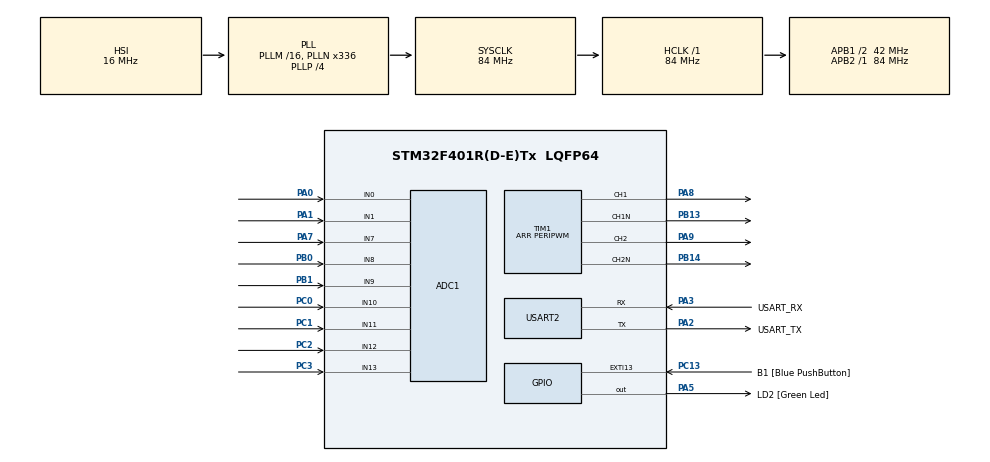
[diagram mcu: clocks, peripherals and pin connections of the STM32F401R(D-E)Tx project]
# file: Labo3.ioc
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ADC1.Channel-0\#ChannelRegularConversion=ADC_CHANNEL_9
ADC1.ContinuousConvMode=DISABLE
ADC1.DMAContinuousRequests=ENABLE
ADC1.EOCSelection=ADC_EOC_SEQ_CONV
ADC1.ExternalTrigConv=ADC_EXTERNALTRIGCONV_T1_CC3
ADC1.ExternalTrigConvEdge=ADC_EXTERNALTRIGCONVEDGE_RISINGFALLING
ADC1.NbrOfConversionFlag=1
ADC1.Rank-0\#ChannelRegularConversion=1
ADC1.SamplingTime-0\#ChannelRegularConversion=ADC_SAMPLETIME_3CYCLES
ADC1.ScanConvMode=ENABLE
ADC1.master=1
Dma.ADC1.0.Direction=DMA_PERIPH_TO_MEMORY
Dma.ADC1.0.FIFOMode=DMA_FIFOMODE_DISABLE
Dma.ADC1.0.Instance=DMA2_Stream0
Dma.ADC1.0.MemDataAlignment=DMA_MDATAALIGN_HALFWORD
Dma.ADC1.0.MemInc=DMA_MINC_ENABLE
Dma.ADC1.0.Mode=DMA_CIRCULAR
Dma.ADC1.0.PeriphDataAlignment=DMA_PDATAALIGN_HALFWORD
Dma.ADC1.0.PeriphInc=DMA_PINC_DISABLE
Dma.ADC1.0.Priority=DMA_PRIORITY_LOW
Dma.Request0=ADC1
Mcu.Family=STM32F4
Mcu.Name=STM32F401R(D-E)Tx
Mcu.Package=LQFP64
Mcu.UserConstants=PERIPWM,2100
NVIC.DMA2_Stream0_IRQn=true\:0\:0\:false\:false\:true\:false\:true\:true
NVIC.PriorityGroup=NVIC_PRIORITYGROUP_0
PA0-WKUP.Signal=ADCx_IN0
PA1.Signal=ADCx_IN1
PA13.GPIO_Label=TMS
PA13.Mode=Serial_Wire
PA13.Signal=SYS_JTMS-SWDIO
PA14.GPIO_Label=TCK
PA14.Mode=Serial_Wire
PA14.Signal=SYS_JTCK-SWCLK
PA2.GPIO_Label=USART_TX
PA2.GPIO_Mode=GPIO_MODE_AF_PP
PA2.GPIO_PuPd=GPIO_NOPULL
PA2.GPIO_Speed=GPIO_SPEED_FREQ_LOW
PA2.Mode=Asynchronous
PA2.Signal=USART2_TX
PA3.GPIO_Label=USART_RX
PA3.GPIO_Mode=GPIO_MODE_AF_PP
PA3.GPIO_PuPd=GPIO_NOPULL
PA3.GPIO_Speed=GPIO_SPEED_FREQ_LOW
PA3.Mode=Asynchronous
PA3.Signal=USART2_RX
PA5.GPIO_Label=LD2 [Green Led]
PA5.GPIO_Mode=GPIO_MODE_OUTPUT_PP
PA5.GPIO_PuPd=GPIO_NOPULL
PA5.GPIO_Speed=GPIO_SPEED_FREQ_LOW
PA5.Signal=GPIO_Output
PA7.Signal=ADCx_IN7
PA8.Signal=S_TIM1_CH1
PA9.Signal=S_TIM1_CH2
PB0.Signal=ADCx_IN8
PB1.Signal=ADCx_IN9
PB13.Mode=PWM Generation1 CH1 CH1N
PB13.Signal=TIM1_CH1N
PB14.Mode=PWM Generation2 CH2 CH2N
PB14.Signal=TIM1_CH2N
PB3.GPIO_Label=SWO
PB3.Signal=SYS_JTDO-SWO
PC0.Signal=ADCx_IN10
PC1.Signal=ADCx_IN11
PC13-ANTI_TAMP.GPIO_Label=B1 [Blue PushButton]
PC13-ANTI_TAMP.GPIO_ModeDefaultEXTI=GPIO_MODE_IT_FALLING
PC13-ANTI_TAMP.GPIO_PuPd=GPIO_NOPULL
PC13-ANTI_TAMP.Signal=GPXTI13
PC14-OSC32_IN.Mode=LSE-External-Oscillator
PC14-OSC32_IN.Signal=RCC_OSC32_IN
PC15-OSC32_OUT.Mode=LSE-External-Oscillator
PC15-OSC32_OUT.Signal=RCC_OSC32_OUT
PC2.Signal=ADCx_IN12
PC3.Signal=ADCx_IN13
PH0\ -\ OSC_IN.Mode=HSE-External-Clock-Source
PH0\ -\ OSC_IN.Signal=RCC_OSC_IN
PH1\ -\ OSC_OUT.Mode=HSE-External-Clock-Source
PH1\ -\ OSC_OUT.Signal=RCC_OSC_OUT
ProjectManager.HeapSize=0x200
ProjectManager.StackSize=0x400
ProjectManager.TargetToolchain=STM32CubeIDE
RCC.48MHZClocksFreq_Value=48000000
RCC.AHBFreq_Value=84000000
RCC.APB1CLKDivider=RCC_HCLK_DIV2
RCC.APB1Freq_Value=42000000
RCC.APB1TimFreq_Value=84000000
RCC.APB2Freq_Value=84000000
RCC.APB2TimFreq_Value=84000000
RCC.CortexFreq_Value=84000000
RCC.HCLKFreq_Value=84000000
RCC.HSE_VALUE=8000000
RCC.HSI_VALUE=16000000
RCC.PLLN=336
RCC.PLLP=RCC_PLLP_DIV4
RCC.PLLQ=7
RCC.SYSCLKFreq_VALUE=84000000
RCC.SYSCLKSource=RCC_SYSCLKSOURCE_PLLCLK
RCC.VCOOutputFreq_Value=336000000
SH.ADCx_IN0.0=ADC1_IN0,IN0
SH.ADCx_IN1.0=ADC1_IN1,IN1
SH.ADCx_IN10.0=ADC1_IN10,IN10
SH.ADCx_IN11.0=ADC1_IN11,IN11
SH.ADCx_IN12.0=ADC1_IN12,IN12
SH.ADCx_IN13.0=ADC1_IN13,IN13
SH.ADCx_IN7.0=ADC1_IN7,IN7
SH.ADCx_IN8.0=ADC1_IN8,IN8
SH.ADCx_IN9.0=ADC1_IN9,IN9
SH.S_TIM1_CH1.0=TIM1_CH1,PWM Generation1 CH1 CH1N
SH.S_TIM1_CH2.0=TIM1_CH2,PWM Generation2 CH2 CH2N
TIM1.AutomaticOutput=TIM_AUTOMATICOUTPUT_ENABLE
TIM1.Channel-Output\ Compare3\ No\ Output=TIM_CHANNEL_3
TIM1.Channel-PWM\ Generation1\ CH1\ CH1N=TIM_CHANNEL_1
TIM1.Channel-PWM\ Generation2\ CH2\ CH2N=TIM_CHANNEL_2
TIM1.CounterMode=TIM_COUNTERMODE_CENTERALIGNED1
TIM1.DeadTime=42
TIM1.OCMode_3=TIM_OCMODE_TOGGLE
TIM1.OCMode_PWM-PWM\ Generation2\ CH2\ CH2N=TIM_OCMODE_PWM1
TIM1.Period=PERIPWM
USART2.VirtualMode=VM_ASYNC
VP_TIM1_VS_ClockSourceINT.Mode=Internal
VP_TIM1_VS_no_output3.Mode=Output Compare3 No Output
board=NUCLEO-F401RE

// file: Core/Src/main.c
/* USER CODE BEGIN Header */
/**
  ******************************************************************************
  * @file           : main.c
  * @brief          : Main program body
  ******************************************************************************
  * @attention
  *
  * Copyright (c) 2023 STMicroelectronics.
  * All rights reserved.
  *
  * This software is licensed under terms that can be found in the LICENSE file
  * in the root directory of this software component.
  * If no LICENSE file comes with this software, it is provided AS-IS.
  *
  ******************************************************************************
  */
/* USER CODE END Header */
#include "main.h"

ADC_HandleTypeDef hadc1;
DMA_HandleTypeDef hdma_adc1;

TIM_HandleTypeDef htim1;

UART_HandleTypeDef huart2;

/* USER CODE BEGIN PV */

uint16_t resultats[1];

/* USER CODE END PV */

void SystemClock_Config(void);
static void MX_GPIO_Init(void);
static void MX_DMA_Init(void);
static void MX_USART2_UART_Init(void);
static void MX_ADC1_Init(void);
static void MX_TIM1_Init(void);

int main(void)
{

  /* MCU Configuration--------------------------------------------------------*/

  /* Reset of all peripherals, Initializes the Flash interface and the Systick. */
  HAL_Init();

  /* Configure the system clock */
  SystemClock_Config();

  /* Initialize all configured peripherals */
  MX_GPIO_Init();
  MX_DMA_Init();
  MX_USART2_UART_Init();
  MX_ADC1_Init();
  MX_TIM1_Init();
  /* USER CODE BEGIN 2 */

  HAL_TIM_OC_Start(&htim1, TIM_CHANNEL_3);
  HAL_TIM_PWM_Start(&htim1, TIM_CHANNEL_1);
  HAL_TIMEx_PWMN_Start(&htim1, TIM_CHANNEL_1);

  HAL_TIM_PWM_Start(&htim1, TIM_CHANNEL_2);
  HAL_TIMEx_PWMN_Start(&htim1, TIM_CHANNEL_2);

  HAL_ADC_Start_DMA(&hadc1, (uint32_t*) resultats, 1);

  /* USER CODE END 2 */

  /* Infinite loop */
  while (1)
  {

  }
}

void SystemClock_Config(void)
{
  RCC_OscInitTypeDef RCC_OscInitStruct = {0};
  RCC_ClkInitTypeDef RCC_ClkInitStruct = {0};

  /** Configure the main internal regulator output voltage
  */
  __HAL_RCC_PWR_CLK_ENABLE();
  __HAL_PWR_VOLTAGESCALING_CONFIG(PWR_REGULATOR_VOLTAGE_SCALE2);

  /** Initializes the RCC Oscillators according to the specified parameters
  * in the RCC_OscInitTypeDef structure.
  */
  RCC_OscInitStruct.OscillatorType = RCC_OSCILLATORTYPE_HSI;
  RCC_OscInitStruct.HSIState = RCC_HSI_ON;
  RCC_OscInitStruct.HSICalibrationValue = RCC_HSICALIBRATION_DEFAULT;
  RCC_OscInitStruct.PLL.PLLState = RCC_PLL_ON;
  RCC_OscInitStruct.PLL.PLLSource = RCC_PLLSOURCE_HSI;
  RCC_OscInitStruct.PLL.PLLM = 16;
  RCC_OscInitStruct.PLL.PLLN = 336;
  RCC_OscInitStruct.PLL.PLLP = RCC_PLLP_DIV4;
  RCC_OscInitStruct.PLL.PLLQ = 7;
  if (HAL_RCC_OscConfig(&RCC_OscInitStruct) != HAL_OK)
  {
    Error_Handler();
  }

  /** Initializes the CPU, AHB and APB buses clocks
  */
  RCC_ClkInitStruct.ClockType = RCC_CLOCKTYPE_HCLK|RCC_CLOCKTYPE_SYSCLK
                              |RCC_CLOCKTYPE_PCLK1|RCC_CLOCKTYPE_PCLK2;
  RCC_ClkInitStruct.SYSCLKSource = RCC_SYSCLKSOURCE_PLLCLK;
  RCC_ClkInitStruct.AHBCLKDivider = RCC_SYSCLK_DIV1;
  RCC_ClkInitStruct.APB1CLKDivider = RCC_HCLK_DIV2;
  RCC_ClkInitStruct.APB2CLKDivider = RCC_HCLK_DIV1;

  if (HAL_RCC_ClockConfig(&RCC_ClkInitStruct, FLASH_LATENCY_2) != HAL_OK)
  {
    Error_Handler();
  }
}

static void MX_ADC1_Init(void)
{

  ADC_ChannelConfTypeDef sConfig = {0};

  /** Configure the global features of the ADC (Clock, Resolution, Data Alignment and number of conversion)
  */
  hadc1.Instance = ADC1;
  hadc1.Init.ClockPrescaler = ADC_CLOCK_SYNC_PCLK_DIV4;
  hadc1.Init.Resolution = ADC_RESOLUTION_12B;
  hadc1.Init.ScanConvMode = ENABLE;
  hadc1.Init.ContinuousConvMode = DISABLE;
  hadc1.Init.DiscontinuousConvMode = DISABLE;
  hadc1.Init.ExternalTrigConvEdge = ADC_EXTERNALTRIGCONVEDGE_RISINGFALLING;
  hadc1.Init.ExternalTrigConv = ADC_EXTERNALTRIGCONV_T1_CC3;
  hadc1.Init.DataAlign = ADC_DATAALIGN_RIGHT;
  hadc1.Init.NbrOfConversion = 1;
  hadc1.Init.DMAContinuousRequests = ENABLE;
  hadc1.Init.EOCSelection = ADC_EOC_SEQ_CONV;
  if (HAL_ADC_Init(&hadc1) != HAL_OK)
  {
    Error_Handler();
  }

  /** Configure for the selected ADC regular channel its corresponding rank in the sequencer and its sample time.
  */
  sConfig.Channel = ADC_CHANNEL_9;
  sConfig.Rank = 1;
  sConfig.SamplingTime = ADC_SAMPLETIME_3CYCLES;
  if (HAL_ADC_ConfigChannel(&hadc1, &sConfig) != HAL_OK)
  {
    Error_Handler();
  }

}

static void MX_TIM1_Init(void)
{

  TIM_ClockConfigTypeDef sClockSourceConfig = {0};
  TIM_MasterConfigTypeDef sMasterConfig = {0};
  TIM_OC_InitTypeDef sConfigOC = {0};
  TIM_BreakDeadTimeConfigTypeDef sBreakDeadTimeConfig = {0};

  htim1.Instance = TIM1;
  htim1.Init.Prescaler = 0;
  htim1.Init.CounterMode = TIM_COUNTERMODE_CENTERALIGNED1;
  htim1.Init.Period = PERIPWM;
  htim1.Init.ClockDivision = TIM_CLOCKDIVISION_DIV1;
  htim1.Init.RepetitionCounter = 0;
  htim1.Init.AutoReloadPreload = TIM_AUTORELOAD_PRELOAD_DISABLE;
  if (HAL_TIM_Base_Init(&htim1) != HAL_OK)
  {
    Error_Handler();
  }
  sClockSourceConfig.ClockSource = TIM_CLOCKSOURCE_INTERNAL;
  if (HAL_TIM_ConfigClockSource(&htim1, &sClockSourceConfig) != HAL_OK)
  {
    Error_Handler();
  }
  if (HAL_TIM_PWM_Init(&htim1) != HAL_OK)
  {
    Error_Handler();
  }
  if (HAL_TIM_OC_Init(&htim1) != HAL_OK)
  {
    Error_Handler();
  }
  sMasterConfig.MasterOutputTrigger = TIM_TRGO_RESET;
  sMasterConfig.MasterSlaveMode = TIM_MASTERSLAVEMODE_DISABLE;
  if (HAL_TIMEx_MasterConfigSynchronization(&htim1, &sMasterConfig) != HAL_OK)
  {
    Error_Handler();
  }
  sConfigOC.OCMode = TIM_OCMODE_PWM1;
  sConfigOC.Pulse = 0;
  sConfigOC.OCPolarity = TIM_OCPOLARITY_HIGH;
  sConfigOC.OCNPolarity = TIM_OCNPOLARITY_HIGH;
  sConfigOC.OCFastMode = TIM_OCFAST_DISABLE;
  sConfigOC.OCIdleState = TIM_OCIDLESTATE_RESET;
  sConfigOC.OCNIdleState = TIM_OCNIDLESTATE_RESET;
  if (HAL_TIM_PWM_ConfigChannel(&htim1, &sConfigOC, TIM_CHANNEL_1) != HAL_OK)
  {
    Error_Handler();
  }
  if (HAL_TIM_PWM_ConfigChannel(&htim1, &sConfigOC, TIM_CHANNEL_2) != HAL_OK)
  {
    Error_Handler();
  }
  sConfigOC.OCMode = TIM_OCMODE_TOGGLE;
  if (HAL_TIM_OC_ConfigChannel(&htim1, &sConfigOC, TIM_CHANNEL_3) != HAL_OK)
  {
    Error_Handler();
  }
  sBreakDeadTimeConfig.OffStateRunMode = TIM_OSSR_DISABLE;
  sBreakDeadTimeConfig.OffStateIDLEMode = TIM_OSSI_DISABLE;
  sBreakDeadTimeConfig.LockLevel = TIM_LOCKLEVEL_OFF;
  sBreakDeadTimeConfig.DeadTime = 42;
  sBreakDeadTimeConfig.BreakState = TIM_BREAK_DISABLE;
  sBreakDeadTimeConfig.BreakPolarity = TIM_BREAKPOLARITY_HIGH;
  sBreakDeadTimeConfig.AutomaticOutput = TIM_AUTOMATICOUTPUT_ENABLE;
  if (HAL_TIMEx_ConfigBreakDeadTime(&htim1, &sBreakDeadTimeConfig) != HAL_OK)
  {
    Error_Handler();
  }
  HAL_TIM_MspPostInit(&htim1);

}

static void MX_USART2_UART_Init(void)
{

  huart2.Instance = USART2;
  huart2.Init.BaudRate = 115200;
  huart2.Init.WordLength = UART_WORDLENGTH_8B;
  huart2.Init.StopBits = UART_STOPBITS_1;
  huart2.Init.Parity = UART_PARITY_NONE;
  huart2.Init.Mode = UART_MODE_TX_RX;
  huart2.Init.HwFlowCtl = UART_HWCONTROL_NONE;
  huart2.Init.OverSampling = UART_OVERSAMPLING_16;
  if (HAL_UART_Init(&huart2) != HAL_OK)
  {
    Error_Handler();
  }

}

static void MX_DMA_Init(void)
{

  /* DMA controller clock enable */
  __HAL_RCC_DMA2_CLK_ENABLE();

  /* DMA interrupt init */
  /* DMA2_Stream0_IRQn interrupt configuration */
  HAL_NVIC_SetPriority(DMA2_Stream0_IRQn, 0, 0);
  HAL_NVIC_EnableIRQ(DMA2_Stream0_IRQn);

}

static void MX_GPIO_Init(void)
{
  GPIO_InitTypeDef GPIO_InitStruct = {0};

  /* GPIO Ports Clock Enable */
  __HAL_RCC_GPIOC_CLK_ENABLE();
  __HAL_RCC_GPIOH_CLK_ENABLE();
  __HAL_RCC_GPIOA_CLK_ENABLE();
  __HAL_RCC_GPIOB_CLK_ENABLE();

  /*Configure GPIO pin Output Level */
  HAL_GPIO_WritePin(LD2_GPIO_Port, LD2_Pin, GPIO_PIN_RESET);

  /*Configure GPIO pin : B1_Pin */
  GPIO_InitStruct.Pin = B1_Pin;
  GPIO_InitStruct.Mode = GPIO_MODE_IT_FALLING;
  GPIO_InitStruct.Pull = GPIO_NOPULL;
  HAL_GPIO_Init(B1_GPIO_Port, &GPIO_InitStruct);

  /*Configure GPIO pin : LD2_Pin */
  GPIO_InitStruct.Pin = LD2_Pin;
  GPIO_InitStruct.Mode = GPIO_MODE_OUTPUT_PP;
  GPIO_InitStruct.Pull = GPIO_NOPULL;
  GPIO_InitStruct.Speed = GPIO_SPEED_FREQ_LOW;
  HAL_GPIO_Init(LD2_GPIO_Port, &GPIO_InitStruct);

}

/* USER CODE BEGIN 4 */

void HAL_ADC_ConvCpltCallback(ADC_HandleTypeDef* AdcHandle){
	static uint16_t counter = 0;
	counter++;
	if (counter == 10000){
		counter = 0;
		HAL_GPIO_TogglePin(LD2_GPIO_Port, LD2_Pin);
	}
	if (resultats[0] > 2048) {
		uint16_t tmp_resultat = (resultats[0] - 2048)*PERIPWM >> 11;
		TIM1->CCR1 = (uint32_t) tmp_resultat;
		TIM1->CCR2 = (uint32_t) tmp_resultat;
		uint32_t tmpccer = TIM1->CCER;
		tmpccer &= 0xFFAA;
		tmpccer |= TIM_CCER_CC1E | TIM_CCER_CC2NE;
		TIM1->CCER = tmpccer;
	}
	else{
		uint16_t tmp_resultat = (2048 - resultats[0])*PERIPWM >> 11;
		TIM1->CCR1 = (uint32_t) tmp_resultat;
		TIM1->CCR2 = (uint32_t) tmp_resultat;
		uint32_t tmpccer = TIM1->CCER;
		tmpccer &= 0xFFAA;
		tmpccer |= TIM_CCER_CC1NE | TIM_CCER_CC2E;
		TIM1->CCER = tmpccer;
	}

	//TIM1->CCR2 = (uint32_t) PERIPWM;
/*
	uint32_t tmpccer = TIM1->CCER;
	tmpccer &= 0xFFAA;
	tmpccer |= TIM_CCER_CC1E | TIM_CCER_CC2NE;
	TIM1->CCER = tmpccer
*/
}

/*
 void HAL_ADC_ConvCpltCallback(ADC_HandleTypeDef* AdcHandle){
	static uint16_t counter = 0;
	counter++;
	if (counter == 10000){
		counter = 0;
		HAL_GPIO_TogglePin(LD2_GPIO_Port, LD2_Pin);
	}
	TIM1->CCR1 = (uint32_t) resultats[0]* PERIPWM >> 12;
	TIM1->CCR2 = (uint32_t) resultats[0]* PERIPWM >> 12;
}
*/
/* USER CODE END 4 */

void Error_Handler(void)
{
  __disable_irq();
  while (1)
  {
  }
}
